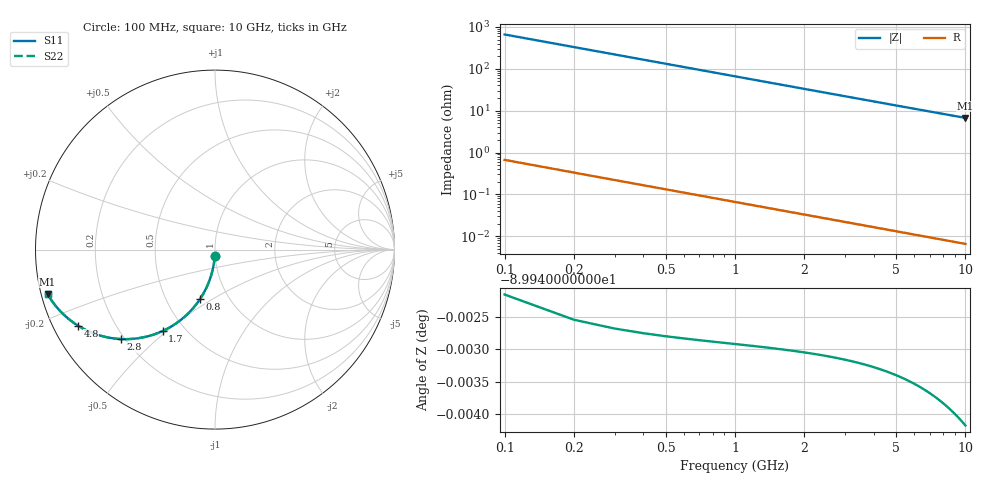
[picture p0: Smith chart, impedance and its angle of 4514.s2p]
# Hz S RI R 50.00
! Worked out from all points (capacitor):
!   100 points, 100 MHz to 10 GHz, reference 50 ohm
!   read as one part in shunt: C = 2.4 pF near 100 MHz
!   lowest |Z| = 6.73 ohm at 10 GHz (marker M1)
!   S11 on the Smith chart (normalised r, x): 100 MHz: 0.99, -0.08; 800 MHz: 0.73, -0.44; 1.7 GHz: 0.38, -0.48; 2.8 GHz: 0.18, -0.39; 4.8 GHz: 0.07, -0.26; 10 GHz: 0.02, -0.13
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1e8  -0.00145 -0.0377  0.9985 -0.0377  0.9985 -0.0377  -0.00145 -0.0377
2e8  -0.00573 -0.075  0.9943 -0.0751  0.9943 -0.0751  -0.00573 -0.075
3e8  -0.0128 -0.1117  0.9872 -0.1118  0.9872 -0.1118  -0.0128 -0.1117
4e8  -0.0224 -0.1474  0.9776 -0.1476  0.9776 -0.1476  -0.0224 -0.1474
5e8  -0.0345 -0.182  0.9655 -0.1822  0.9655 -0.1822  -0.0345 -0.182
6e8  -0.0489 -0.2151  0.9511 -0.2154  0.9511 -0.2154  -0.0489 -0.2151
8e8  -0.0837 -0.2763  0.9163 -0.2766  0.9163 -0.2766  -0.0837 -0.2763
1e9  -0.1248 -0.3298  0.8752 -0.3302  0.8752 -0.3302  -0.1248 -0.3298
1.2e9  -0.1702 -0.375  0.8298 -0.3756  0.8298 -0.3756  -0.1702 -0.375
1.4e9  -0.2181 -0.4121  0.7819 -0.4127  0.7819 -0.4127  -0.2181 -0.4121
1.7e9  -0.2912 -0.4534  0.7088 -0.4542  0.7088 -0.4542  -0.2912 -0.4534
1.8e9  -0.3152 -0.4637  0.6848 -0.4645  0.6848 -0.4645  -0.3152 -0.4637
2.3e9  -0.4287 -0.4939  0.5713 -0.4949  0.5713 -0.4949  -0.4287 -0.4939
2.8e9  -0.5261 -0.4982  0.4739 -0.4994  0.4739 -0.4994  -0.5261 -0.4982
3.4e9  -0.6203 -0.4841  0.3797 -0.4855  0.3797 -0.4855  -0.6203 -0.4841
4.1e9  -0.7033 -0.4554  0.2967 -0.4572  0.2967 -0.4572  -0.7033 -0.4554
4.8e9  -0.7643 -0.4229  0.2357 -0.425  0.2357 -0.425  -0.7643 -0.4229
5.1e9  -0.7853 -0.409  0.2147 -0.4112  0.2147 -0.4112  -0.7853 -0.409
5.8e9  -0.8253 -0.3779  0.1747 -0.3805  0.1747 -0.3805  -0.8253 -0.3779
6.7e9  -0.8629 -0.342  0.1371 -0.3449  0.1371 -0.3449  -0.8629 -0.342
8.4e9  -0.908 -0.2867  0.092 -0.2904  0.092 -0.2904  -0.908 -0.2867
1e10  -0.9332 -0.247  0.0668 -0.2514  0.0668 -0.2514  -0.9332 -0.247
